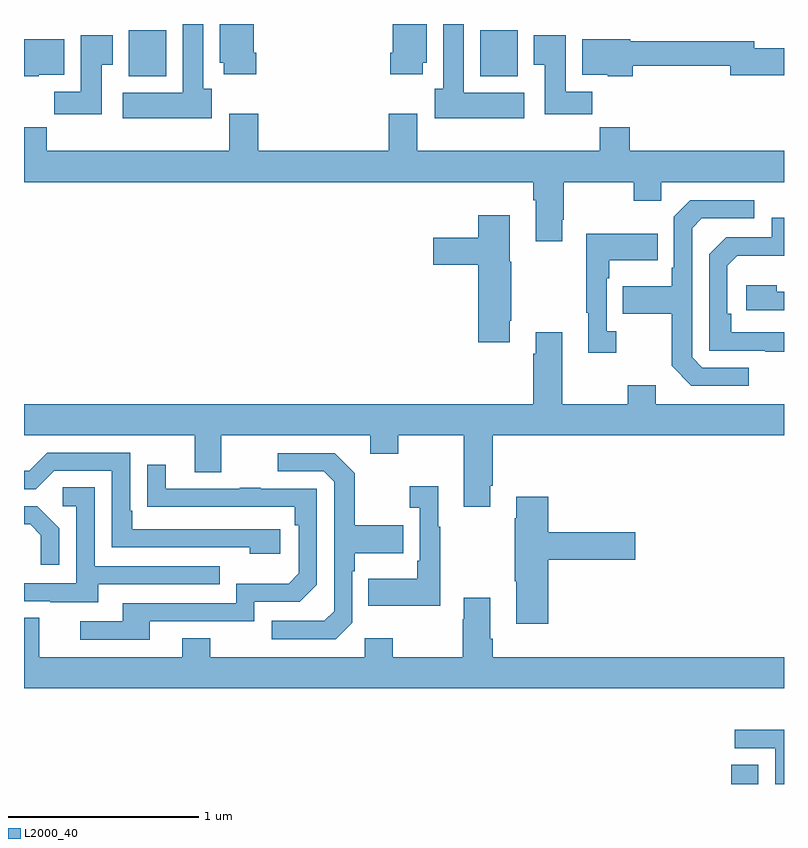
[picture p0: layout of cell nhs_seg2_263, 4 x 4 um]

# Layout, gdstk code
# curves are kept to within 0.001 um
import gdstk
lib = gdstk.Library(unit=1e-6, precision=1e-09)
def R(c, l, rs):  # rectangles x0, y0, x1, y1
    for r in rs: c.add(gdstk.rectangle(r[:2], r[2:], *l))
def P(c, l, *ps):  # polygons
    for p in ps: c.add(gdstk.Polygon(p, *l))
L2000_40 = (2000, 40)

nhs_seg2_263 = lib.new_cell('nhs_seg2_263')
R(nhs_seg2_263, L2000_40, [(126.722,645.8,126.865,645.902), (123.551,649.526,123.748,649.768), (125.402,649.526,125.599,649.768)])
P(nhs_seg2_263, L2000_40, [(125.632,649.438),(125.314,649.438),(125.314,649.8),(125.207,649.8),(125.207,649.458),(125.162,649.458),(125.162,649.304),(125.632,649.304)],
  [(123.988,649.458),(123.943,649.458),(123.943,649.8),(123.836,649.8),(123.836,649.438),(123.519,649.438),(123.519,649.304),(123.988,649.304)],
  [(124.223,649.648),(124.21,649.648),(124.21,649.8),(124.031,649.8),(124.031,649.596),(124.052,649.596),(124.052,649.536),(124.223,649.536)],
  [(125.098,649.596),(125.119,649.596),(125.119,649.8),(124.94,649.8),(124.94,649.648),(124.928,649.648),(124.928,649.536),(125.098,649.536)],
  [(125.99,649.444),(125.851,649.444),(125.851,649.741),(125.684,649.741),(125.684,649.585),(125.741,649.585),(125.741,649.326),(125.99,649.326)],
  [(123.409,649.585),(123.466,649.585),(123.466,649.741),(123.299,649.741),(123.299,649.444),(123.16,649.444),(123.16,649.326),(123.409,649.326)],
  [(126.203,649.581),(126.716,649.581),(126.716,649.531),(127,649.531),(127,649.673),(126.844,649.673),(126.844,649.709),(126.19,649.709),(126.19,649.72),(125.939,649.72),(125.939,649.532),(126.072,649.532),(126.072,649.526),(126.203,649.526)],
  [(123.078,649.532),(123.211,649.532),(123.211,649.72),(123,649.72),(123,649.526),(123.078,649.526)],
  [(125.833,648.769),(125.841,648.769),(125.841,648.968),(126.208,648.968),(126.208,648.869),(126.354,648.869),(126.354,648.968),(127,648.968),(127,649.132),(126.188,649.132),(126.188,649.256),(126.031,649.256),(126.031,649.132),(125.071,649.132),(125.071,649.327),(124.919,649.327),(124.919,649.132),(124.232,649.132),(124.232,649.327),(124.079,649.327),(124.079,649.132),(123.119,649.132),(123.119,649.256),(123,649.256),(123,648.968),(125.681,648.968),(125.681,648.872),(125.693,648.872),(125.693,648.657),(125.833,648.657)],
  [(126.814,647.991),(126.57,647.991),(126.516,648.045),(126.516,648.726),(126.567,648.777),(126.844,648.777),(126.844,648.873),(126.507,648.873),(126.42,648.786),(126.42,648.517),(126.408,648.517),(126.408,648.421),(126.151,648.421),(126.151,648.274),(126.408,648.274),(126.408,648.001),(126.513,647.895),(126.814,647.895)],
  [(125.557,648.238),(125.565,648.238),(125.565,648.549),(125.557,648.549),(125.557,648.793),(125.39,648.793),(125.39,648.675),(125.154,648.675),(125.154,648.533),(125.39,648.533),(125.39,648.126),(125.557,648.126)],
  [(127,648.177),(126.722,648.177),(126.722,648.274),(126.702,648.274),(126.702,648.528),(126.755,648.581),(127,648.581),(127,648.78),(126.936,648.78),(126.936,648.678),(126.696,648.678),(126.606,648.588),(126.606,648.081),(126.901,648.081),(126.901,648.076),(127,648.076)],
  [(126.118,648.182),(126.066,648.182),(126.066,648.461),(126.079,648.461),(126.079,648.557),(126.335,648.557),(126.335,648.697),(125.958,648.697),(125.958,648.281),(125.969,648.281),(125.969,648.069),(126.118,648.069)],
  [(127,648.39),(126.962,648.39),(126.962,648.424),(126.801,648.424),(126.801,648.294),(127,648.294)],
  [(125.455,647.371),(125.468,647.371),(125.468,647.636),(127,647.636),(127,647.8),(126.325,647.8),(126.325,647.899),(126.178,647.899),(126.178,647.8),(125.833,647.8),(125.833,648.178),(125.693,648.178),(125.693,648.065),(125.681,648.065),(125.681,647.8),(123,647.8),(123,647.636),(123.899,647.636),(123.899,647.442),(124.039,647.442),(124.039,647.636),(124.823,647.636),(124.823,647.537),(124.971,647.537),(124.971,647.636),(125.315,647.636),(125.315,647.259),(125.455,647.259)],
  [(124.348,647.142),(123.571,647.142),(123.571,647.239),(123.558,647.239),(123.558,647.544),(123.123,647.544),(123.027,647.448),(123,647.448),(123,647.352),(123.063,647.352),(123.159,647.448),(123.462,647.448),(123.462,647.046),(124.187,647.046),(124.187,647.012),(124.348,647.012)],
  [(124.728,646.65),(124.728,646.919),(124.741,646.919),(124.741,647.015),(124.997,647.015),(124.997,647.163),(124.741,647.163),(124.741,647.435),(124.635,647.541),(124.335,647.541),(124.335,647.445),(124.578,647.445),(124.632,647.391),(124.632,646.71),(124.581,646.659),(124.305,646.659),(124.305,646.563),(124.641,646.563)],
  [(123.661,646.656),(124.212,646.656),(124.212,646.758),(124.452,646.758),(124.542,646.848),(124.542,647.355),(124.247,647.355),(124.247,647.36),(124.135,647.36),(124.135,647.355),(123.745,647.355),(123.745,647.479),(123.649,647.479),(123.649,647.26),(124.426,647.259),(124.426,647.162),(124.446,647.162),(124.446,646.908),(124.393,646.855),(124.116,646.855),(124.116,646.752),(123.521,646.752),(123.521,646.656),(123.297,646.656),(123.297,646.56),(123.661,646.56)],
  [(125.191,647.155),(125.179,647.155),(125.179,647.368),(125.031,647.368),(125.031,647.255),(125.082,647.255),(125.082,646.975),(125.07,646.975),(125.07,646.879),(124.813,646.879),(124.813,646.739),(125.191,646.739)],
  [(123.391,646.851),(124.031,646.851),(124.031,646.947),(123.372,646.947),(123.372,647.363),(123.204,647.363),(123.204,647.262),(123.276,647.262),(123.276,646.857),(123,646.857),(123,646.761),(123.137,646.761),(123.137,646.757),(123.391,646.757)],
  [(125.759,646.979),(126.217,646.979),(126.217,647.126),(125.759,647.126),(125.759,647.311),(125.591,647.311),(125.591,647.198),(125.584,647.198),(125.584,646.867),(125.591,646.867),(125.591,646.644),(125.759,646.644)],
  [(123.186,647.146),(123.07,647.262),(123,647.262),(123,647.166),(123.032,647.166),(123.089,647.109),(123.089,646.953),(123.186,646.953)],
  [(127,646.468),(125.468,646.468),(125.468,646.564),(125.455,646.564),(125.455,646.78),(125.315,646.78),(125.315,646.667),(125.308,646.667),(125.308,646.468),(124.941,646.468),(124.941,646.567),(124.794,646.567),(124.794,646.468),(123.981,646.468),(123.981,646.567),(123.833,646.567),(123.833,646.468),(123.079,646.468),(123.079,646.676),(123,646.676),(123,646.304),(127,646.304)],
  [(127,646.086),(126.741,646.086),(126.741,645.987),(126.954,645.987),(126.954,645.8),(127,645.8)])

lib.write_gds('nhs_seg2_263.gds')
